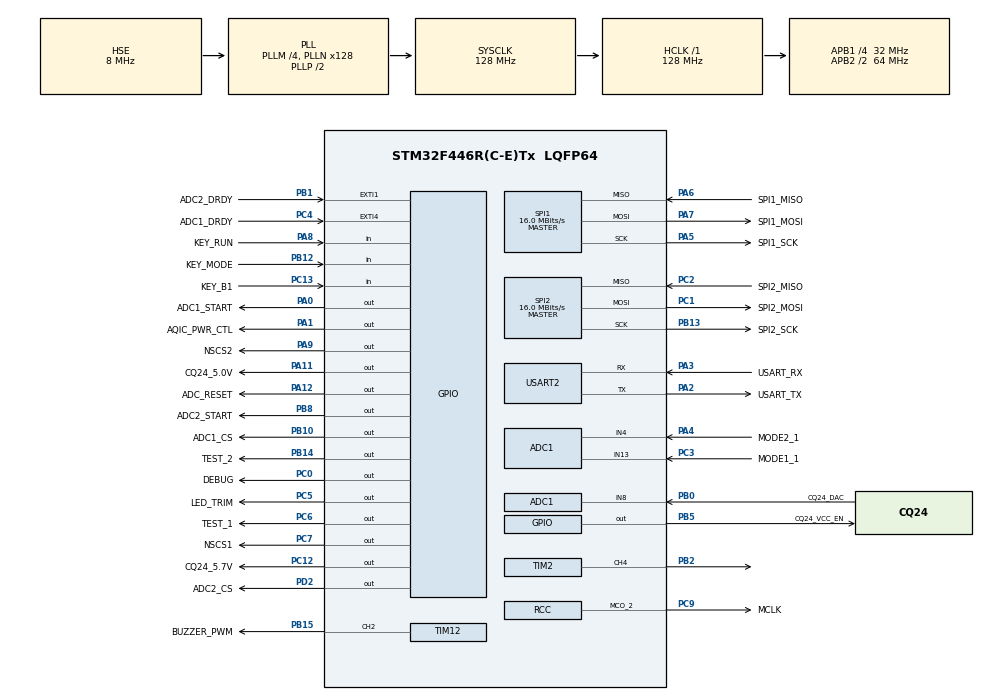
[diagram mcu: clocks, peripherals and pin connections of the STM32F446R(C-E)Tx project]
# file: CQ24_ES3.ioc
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ADC1.Channel-0\#ChannelRegularConversion=ADC_CHANNEL_13
ADC1.Channel-1\#ChannelRegularConversion=ADC_CHANNEL_8
ADC1.Channel-3\#ChannelRegularConversion=ADC_CHANNEL_4
ADC1.NbrOfConversion=3
ADC1.NbrOfConversionFlag=1
ADC1.Rank-0\#ChannelRegularConversion=1
ADC1.Rank-1\#ChannelRegularConversion=2
ADC1.Rank-3\#ChannelRegularConversion=3
ADC1.SamplingTime-0\#ChannelRegularConversion=ADC_SAMPLETIME_3CYCLES
ADC1.SamplingTime-1\#ChannelRegularConversion=ADC_SAMPLETIME_3CYCLES
ADC1.SamplingTime-3\#ChannelRegularConversion=ADC_SAMPLETIME_3CYCLES
ADC1.ScanConvMode=ENABLE
ADC1.master=1
Dma.ADC1.0.Direction=DMA_PERIPH_TO_MEMORY
Dma.ADC1.0.FIFOMode=DMA_FIFOMODE_DISABLE
Dma.ADC1.0.Instance=DMA2_Stream0
Dma.ADC1.0.MemDataAlignment=DMA_MDATAALIGN_HALFWORD
Dma.ADC1.0.MemInc=DMA_MINC_ENABLE
Dma.ADC1.0.Mode=DMA_NORMAL
Dma.ADC1.0.PeriphDataAlignment=DMA_PDATAALIGN_HALFWORD
Dma.ADC1.0.PeriphInc=DMA_PINC_DISABLE
Dma.ADC1.0.Priority=DMA_PRIORITY_LOW
Dma.Request0=ADC1
Dma.Request1=USART2_TX
Dma.Request2=USART2_RX
Dma.USART2_RX.2.Direction=DMA_PERIPH_TO_MEMORY
Dma.USART2_RX.2.FIFOMode=DMA_FIFOMODE_DISABLE
Dma.USART2_RX.2.Instance=DMA1_Stream5
Dma.USART2_RX.2.MemDataAlignment=DMA_MDATAALIGN_BYTE
Dma.USART2_RX.2.MemInc=DMA_MINC_ENABLE
Dma.USART2_RX.2.Mode=DMA_NORMAL
Dma.USART2_RX.2.PeriphDataAlignment=DMA_PDATAALIGN_BYTE
Dma.USART2_RX.2.PeriphInc=DMA_PINC_DISABLE
Dma.USART2_RX.2.Priority=DMA_PRIORITY_LOW
Dma.USART2_TX.1.Direction=DMA_MEMORY_TO_PERIPH
Dma.USART2_TX.1.FIFOMode=DMA_FIFOMODE_DISABLE
Dma.USART2_TX.1.Instance=DMA1_Stream6
Dma.USART2_TX.1.MemDataAlignment=DMA_MDATAALIGN_BYTE
Dma.USART2_TX.1.MemInc=DMA_MINC_ENABLE
Dma.USART2_TX.1.Mode=DMA_NORMAL
Dma.USART2_TX.1.PeriphDataAlignment=DMA_PDATAALIGN_BYTE
Dma.USART2_TX.1.PeriphInc=DMA_PINC_DISABLE
Dma.USART2_TX.1.Priority=DMA_PRIORITY_LOW
FREERTOS.INCLUDE_vTaskDelayUntil=1
FREERTOS.Queues01=queue_key_event,16,uint16_t,0,Dynamic,NULL,NULL
FREERTOS.Tasks01=JigFunctionTask,8,512,JigFunction,Default,NULL,Dynamic,NULL,NULL;KeyHandlerTask,24,128,KeyHandler,Default,NULL,Dynamic,NULL,NULL;UartHandlerTask,24,512,UartHandler,Default,NULL,Dynamic,NULL,NULL
FREERTOS.configENABLE_FPU=1
FREERTOS.configUSE_TIMERS=1
Mcu.Family=STM32F4
Mcu.Name=STM32F446R(C-E)Tx
Mcu.Package=LQFP64
NVIC.DMA1_Stream5_IRQn=true\:5\:0\:false\:false\:true\:true\:false\:true\:true
NVIC.DMA1_Stream6_IRQn=true\:5\:0\:false\:false\:true\:true\:false\:true\:true
NVIC.DMA2_Stream0_IRQn=true\:5\:0\:false\:false\:true\:true\:false\:true\:true
NVIC.EXTI1_IRQn=true\:5\:0\:false\:false\:true\:true\:true\:true\:true
NVIC.EXTI4_IRQn=true\:5\:0\:false\:false\:true\:true\:true\:true\:true
NVIC.PriorityGroup=NVIC_PRIORITYGROUP_4
NVIC.TIM1_UP_TIM10_IRQn=true\:0\:0\:false\:false\:true\:false\:false\:true\:true
NVIC.TIM2_IRQn=true\:5\:0\:false\:false\:true\:true\:true\:true\:true
NVIC.TimeBase=TIM1_UP_TIM10_IRQn
NVIC.TimeBaseIP=TIM1
NVIC.USART2_IRQn=true\:5\:0\:false\:false\:true\:true\:true\:true\:true
PA0-WKUP.GPIO_Label=ADC1_START
PA0-WKUP.Signal=GPIO_Output
PA1.GPIO_Label=AQIC_PWR_CTL
PA1.GPIO_PuPd=GPIO_PULLDOWN
PA1.PinState=GPIO_PIN_RESET
PA1.Signal=GPIO_Output
PA11.GPIO_Label=CQ24_5.0V
PA11.GPIO_PuPd=GPIO_NOPULL
PA11.Signal=GPIO_Output
PA12.GPIO_Label=ADC_RESET
PA12.PinState=GPIO_PIN_SET
PA12.Signal=GPIO_Output
PA13.GPIO_Label=TMS
PA13.Mode=Serial_Wire
PA13.Signal=SYS_JTMS-SWDIO
PA14.GPIO_Label=TCK
PA14.Mode=Serial_Wire
PA14.Signal=SYS_JTCK-SWCLK
PA2.GPIO_Label=USART_TX
PA2.Mode=Asynchronous
PA2.Signal=USART2_TX
PA3.GPIO_Label=USART_RX
PA3.Mode=Asynchronous
PA3.Signal=USART2_RX
PA4.GPIO_Label=MODE2_1
PA4.Signal=ADCx_IN4
PA5.GPIO_Label=SPI1_SCK
PA5.Mode=Full_Duplex_Master
PA5.Signal=SPI1_SCK
PA6.GPIO_Label=SPI1_MISO
PA6.Mode=Full_Duplex_Master
PA6.Signal=SPI1_MISO
PA7.GPIO_Label=SPI1_MOSI
PA7.Mode=Full_Duplex_Master
PA7.Signal=SPI1_MOSI
PA8.GPIO_Label=KEY_RUN
PA8.Signal=GPIO_Input
PA9.GPIO_Label=NSCS2
PA9.PinState=GPIO_PIN_SET
PA9.Signal=GPIO_Output
PB0.GPIO_Label=CQ24_DAC
PB0.Signal=ADCx_IN8
PB1.GPIO_Label=ADC2_DRDY
PB1.GPIO_ModeDefaultEXTI=GPIO_MODE_IT_FALLING
PB1.Signal=GPXTI1
PB10.GPIO_Label=ADC1_CS
PB10.PinState=GPIO_PIN_SET
PB10.Signal=GPIO_Output
PB12.GPIO_Label=KEY_MODE
PB12.Signal=GPIO_Input
PB13.GPIO_Label=SPI2_SCK
PB13.Mode=Full_Duplex_Master
PB13.Signal=SPI2_SCK
PB14.GPIO_Label=TEST_2
PB14.Signal=GPIO_Output
PB15.GPIO_Label=BUZZER_PWM
PB15.Signal=S_TIM12_CH2
PB2.Signal=S_TIM2_CH4
PB3.GPIO_Label=SWO
PB3.Signal=SYS_JTDO-SWO
PB5.GPIO_Label=CQ24_VCC_EN
PB5.GPIO_PuPd=GPIO_NOPULL
PB5.PinState=GPIO_PIN_SET
PB5.Signal=GPIO_Output
PB8.GPIO_Label=ADC2_START
PB8.Signal=GPIO_Output
PC0.GPIO_Label=DEBUG
PC0.Signal=GPIO_Output
PC1.GPIO_Label=SPI2_MOSI
PC1.Mode=Full_Duplex_Master
PC1.Signal=SPI2_MOSI
PC12.GPIO_Label=CQ24_5.7V
PC12.GPIO_PuPd=GPIO_NOPULL
PC12.Signal=GPIO_Output
PC13.GPIO_Label=KEY_B1
PC13.Signal=GPIO_Input
PC14-OSC32_IN.Mode=LSE-External-Oscillator
PC14-OSC32_IN.Signal=RCC_OSC32_IN
PC15-OSC32_OUT.Mode=LSE-External-Oscillator
PC15-OSC32_OUT.Signal=RCC_OSC32_OUT
PC2.GPIO_Label=SPI2_MISO
PC2.Mode=Full_Duplex_Master
PC2.Signal=SPI2_MISO
PC3.GPIO_Label=MODE1_1
PC3.Signal=ADCx_IN13
PC4.GPIO_Label=ADC1_DRDY
PC4.GPIO_ModeDefaultEXTI=GPIO_MODE_IT_FALLING
PC4.Signal=GPXTI4
PC5.GPIO_Label=LED_TRIM
PC5.Signal=GPIO_Output
PC6.GPIO_Label=TEST_1
PC6.Signal=GPIO_Output
PC7.GPIO_Label=NSCS1
PC7.PinState=GPIO_PIN_SET
PC7.Signal=GPIO_Output
PC9.GPIO_Label=MCLK
PC9.Mode=Clock-out-2
PC9.Signal=RCC_MCO_2
PD2.GPIO_Label=ADC2_CS
PD2.PinState=GPIO_PIN_SET
PD2.Signal=GPIO_Output
PH0-OSC_IN.Mode=HSE-External-Oscillator
PH0-OSC_IN.Signal=RCC_OSC_IN
PH1-OSC_OUT.Mode=HSE-External-Oscillator
PH1-OSC_OUT.Signal=RCC_OSC_OUT
ProjectManager.HeapSize=0x200
ProjectManager.StackSize=0x400
ProjectManager.TargetToolchain=EWARM V8.50
RCC.48MHZClocksFreq_Value=84000000
RCC.AHBFreq_Value=128000000
RCC.APB1CLKDivider=RCC_HCLK_DIV4
RCC.APB1Freq_Value=32000000
RCC.APB1TimFreq_Value=64000000
RCC.APB2CLKDivider=RCC_HCLK_DIV2
RCC.APB2Freq_Value=64000000
RCC.APB2TimFreq_Value=128000000
RCC.CortexFreq_Value=128000000
RCC.FLatency-AdvancedSettings=FLASH_LATENCY_4
RCC.HCLKFreq_Value=128000000
RCC.HSE_VALUE=8000000
RCC.HSI_VALUE=16000000
RCC.PLLI2SM=6
RCC.PLLI2SN=194
RCC.PLLI2SR=4
RCC.PLLM=4
RCC.PLLN=128
RCC.PLLR=4
RCC.PLLSourceVirtual=RCC_PLLSOURCE_HSE
RCC.PWREXT_OverDrive=PWREXT_OverDrive_ACTIVATED
RCC.PWR_Regulator_Voltage_Scale=PWR_REGULATOR_VOLTAGE_SCALE1
RCC.RCC_MCO2Source=RCC_MCO2SOURCE_PLLI2SCLK
RCC.RCC_MCODiv2=RCC_MCODIV_4
RCC.SYSCLKFreq_VALUE=128000000
RCC.SYSCLKSource=RCC_SYSCLKSOURCE_PLLCLK
RCC.USBFreq_Value=128000000
RCC.VCOOutputFreq_Value=256000000
SH.ADCx_IN13.0=ADC1_IN13,IN13
SH.ADCx_IN4.0=ADC1_IN4,IN4
SH.ADCx_IN8.0=ADC1_IN8,IN8
SH.S_TIM12_CH2.0=TIM12_CH2,PWM Generation2 CH2
SH.S_TIM2_CH4.0=TIM2_CH4,PWM Generation4 CH4
SPI1.BaudRatePrescaler=SPI_BAUDRATEPRESCALER_4
SPI1.CLKPhase=SPI_PHASE_2EDGE
SPI1.CalculateBaudRate=16.0 MBits/s
SPI1.DataSize=SPI_DATASIZE_8BIT
SPI1.Direction=SPI_DIRECTION_2LINES
SPI1.Mode=SPI_MODE_MASTER
SPI1.VirtualType=VM_MASTER
SPI2.BaudRatePrescaler=SPI_BAUDRATEPRESCALER_2
SPI2.CLKPhase=SPI_PHASE_2EDGE
SPI2.CalculateBaudRate=16.0 MBits/s
SPI2.DataSize=SPI_DATASIZE_16BIT
SPI2.Direction=SPI_DIRECTION_2LINES
SPI2.Mode=SPI_MODE_MASTER
SPI2.VirtualType=VM_MASTER
TIM12.Channel-PWM\ Generation2\ CH2=TIM_CHANNEL_2
TIM12.Period=3866
TIM12.Prescaler=89
TIM12.Pulse-PWM\ Generation2\ CH2=1933
TIM2.Channel-PWM\ Generation4\ CH4=TIM_CHANNEL_4
TIM2.Period=639999
TIM2.Prescaler=0
USART2.VirtualMode=VM_ASYNC
VP_FREERTOS_VS_CMSIS_V2.Mode=CMSIS_V2
VP_SYS_VS_tim1.Mode=TIM1
VP_TIM12_VS_ClockSourceINT.Mode=Internal
VP_TIM2_VS_ClockSourceINT.Mode=Internal
board=NUCLEO-F446RE

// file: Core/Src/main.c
/* USER CODE BEGIN Header */
/**
  ******************************************************************************
  * @file           : main.c
  * @brief          : Main program body
  ******************************************************************************
  * @attention
  *
  * Copyright (c) 2025 STMicroelectronics.
  * All rights reserved.
  *
  * This software is licensed under terms that can be found in the LICENSE file
  * in the root directory of this software component.
  * If no LICENSE file comes with this software, it is provided AS-IS.
  *
  ******************************************************************************
  */
/* USER CODE END Header */
#include "main.h"
#include "cmsis_os.h"

/* USER CODE BEGIN Includes */
#include "ads124S08.h"
/* USER CODE END Includes */

/* USER CODE BEGIN PD */
#define TASK_JIG_FUNCTION_TICK      (10) //ms

#define TASK_KEY_HANDLER_TICK       (10) //ms
#define TASK_UART_HANDLER_TICK      (5) //ms

#define UART_BACKSPACE              (0x08)
#define UART_NEW_LINE               (0x0A)
#define UART_CARRIAGE_RETURN        (0x0D)
#define UART_DELETE                 (0x7F)
#define UART_SPACE                  (0x20)

#define TX_PACKET_SIZE              (200)
#define TX_BUFF_SIZE                (512) // must be power of 2

#define RX_PACKET_SIZE              (20)
#define RX_BUFF_SIZE                (32) // must be power of 2

typedef enum
{
    KEY_FUNCTION_LONG = 0,
    KEY_FUNCTION_SHORT,
    KEY_FUNCTION_MAX,
}KEY_FUNCTION_TYPE;

typedef enum
{
    KEY_RUN = 0,
    KEY_MODE,
    KEY_B1,
    KEY_MAX,
}KEY_INDEX;

static GPIO_TypeDef* key_gpio_port[KEY_MAX] =
{
    KEY_RUN_GPIO_Port,
    KEY_MODE_GPIO_Port,
    KEY_B1_GPIO_Port
};

static uint16_t key_gpio_pin[KEY_MAX] =
{
    KEY_RUN_Pin,
    KEY_MODE_Pin,
    KEY_B1_Pin
};

#define KEY_PRESSED_JUDGE_CNT   (50)
/* USER CODE END PD */

ADC_HandleTypeDef hadc1;
DMA_HandleTypeDef hdma_adc1;

SPI_HandleTypeDef hspi1;
SPI_HandleTypeDef hspi2;

TIM_HandleTypeDef htim2;
TIM_HandleTypeDef htim12;

UART_HandleTypeDef huart2;
DMA_HandleTypeDef hdma_usart2_tx;
DMA_HandleTypeDef hdma_usart2_rx;

/* Definitions for JigFunctionTask */
osThreadId_t JigFunctionTaskHandle;
const osThreadAttr_t JigFunctionTask_attributes = {
  .name = "JigFunctionTask",
  .stack_size = 512 * 4,
  .priority = (osPriority_t) osPriorityLow,
};
/* Definitions for KeyHandlerTask */
osThreadId_t KeyHandlerTaskHandle;
const osThreadAttr_t KeyHandlerTask_attributes = {
  .name = "KeyHandlerTask",
  .stack_size = 128 * 4,
  .priority = (osPriority_t) osPriorityNormal,
};
/* Definitions for UartHandlerTask */
osThreadId_t UartHandlerTaskHandle;
const osThreadAttr_t UartHandlerTask_attributes = {
  .name = "UartHandlerTask",
  .stack_size = 512 * 4,
  .priority = (osPriority_t) osPriorityNormal,
};
/* Definitions for queue_key_event */
osMessageQueueId_t queue_key_eventHandle;
const osMessageQueueAttr_t queue_key_event_attributes = {
  .name = "queue_key_event"
};
/* USER CODE BEGIN PV */
osSemaphoreId_t JigTaskSemaphore;

typedef struct
{
    uint8_t length;
    char buffer[TX_PACKET_SIZE];
}Tx_Packet;

typedef struct
{
    uint8_t TxInCnt;
    uint8_t TxOutCnt;
    Tx_Packet Txbuff[TX_BUFF_SIZE];
}Uart_Tx;
static Uart_Tx gt_uart_tx;
bool gb_uart_tx_start;

typedef struct
{
    uint8_t length;
    char buffer[RX_PACKET_SIZE];
}Rx_Packet;

typedef struct
{
    uint8_t RxInCnt;
    uint8_t RxOutCnt;
    Rx_Packet Rxbuff[RX_BUFF_SIZE];
}Uart_Rx;
static Uart_Rx gt_uart_rx;
uint8_t gn_uart_rx_temp;

const char* CQ24_CONSOLE = "CQ24 >> ";

typedef struct
{
    GPIO_PinState prev_pin_state;
    GPIO_PinState now_pin_state;
    uint8_t key_press_count;
    bool is_long_key_done;
}_key_state_;
static _key_state_ gt_key_state[KEY_MAX];
/* USER CODE END PV */

void SystemClock_Config(void);
void PeriphCommonClock_Config(void);
static void MX_GPIO_Init(void);
static void MX_DMA_Init(void);
static void MX_ADC1_Init(void);
static void MX_USART2_UART_Init(void);
static void MX_SPI1_Init(void);
static void MX_SPI2_Init(void);
static void MX_TIM2_Init(void);
static void MX_TIM12_Init(void);
void JigFunction(void *argument);
void KeyHandler(void *argument);
void UartHandler(void *argument);

/* USER CODE BEGIN PFP */
static void Key_Run_Long_Function(void);
static void Key_Run_Short_Function(void);
static void Key_Mode_Long_Function(void);
static void Key_Mode_Short_Function(void);
static void Key_B1_Long_Function(void);
static void Key_B1_Short_Function(void);
static void Key_Struct_Init(void);

static uint8_t Receive_Command_Is(char* compare_msg);
static void Uart_Display_Command_List(void);
static void Uart_Rx_Decode_String(void);
static void Uart_Debug_Init(void);
/* USER CODE END PFP */

/* USER CODE BEGIN 0 */
void Print(const char* fmt, ...)
{
    int length = 0;
    va_list args;

    va_start(args, fmt);
    length = vsnprintf(gt_uart_tx.Txbuff[gt_uart_tx.TxInCnt].buffer, (TX_PACKET_SIZE - 1), fmt, args);
    va_end(args);

    gt_uart_tx.Txbuff[gt_uart_tx.TxInCnt].length = length;
    ++gt_uart_tx.TxInCnt;
    gt_uart_tx.TxInCnt &= (uint8_t)(TX_BUFF_SIZE - 1);
}

void Uart_Rx_Parser(void)
{
    HAL_UART_Transmit(&huart2, &gn_uart_rx_temp, 1, 10);

    if (gn_uart_rx_temp == UART_NEW_LINE || gn_uart_rx_temp == UART_CARRIAGE_RETURN)
    {
        char enter = UART_NEW_LINE;
        HAL_UART_Transmit(&huart2, (const uint8_t*)&enter, 1, 10);
        ++gt_uart_rx.RxInCnt;
        gt_uart_rx.RxInCnt &= (uint8_t)(RX_BUFF_SIZE - 1);

        gt_uart_rx.Rxbuff[gt_uart_rx.RxInCnt].length = 0;
    }
    else if (gn_uart_rx_temp == UART_BACKSPACE)
    {
        char backspace[2] = { UART_SPACE, UART_BACKSPACE };
        HAL_UART_Transmit(&huart2, (const uint8_t*)backspace, 2, 10);
        if (gt_uart_rx.Rxbuff[gt_uart_rx.RxInCnt].length)
        {
            --gt_uart_rx.Rxbuff[gt_uart_rx.RxInCnt].length;
            gt_uart_rx.Rxbuff[gt_uart_rx.RxInCnt].buffer[gt_uart_rx.Rxbuff[gt_uart_rx.RxInCnt].length] = 0;
        }
    }
    else if (gn_uart_rx_temp == UART_DELETE)
    {
        char delete[3] = { UART_BACKSPACE, UART_SPACE, UART_BACKSPACE };
        HAL_UART_Transmit(&huart2, (const uint8_t*)delete, 3, 10);
        while (gt_uart_rx.Rxbuff[gt_uart_rx.RxInCnt].length)
        {
            HAL_UART_Transmit(&huart2, (const uint8_t*)delete, 3, 10);
            --gt_uart_rx.Rxbuff[gt_uart_rx.RxInCnt].length;
            gt_uart_rx.Rxbuff[gt_uart_rx.RxInCnt].buffer[gt_uart_rx.Rxbuff[gt_uart_rx.RxInCnt].length] = 0;
        }
    }
    else
    {
        if (gt_uart_rx.Rxbuff[gt_uart_rx.RxInCnt].length < RX_PACKET_SIZE)
        {
            gt_uart_rx.Rxbuff[gt_uart_rx.RxInCnt].buffer[gt_uart_rx.Rxbuff[gt_uart_rx.RxInCnt].length] = gn_uart_rx_temp;
            ++gt_uart_rx.Rxbuff[gt_uart_rx.RxInCnt].length;
        }
        else
        {
            Print("\tRx Buffer Size Limit...\r\n");
        }
    }

    HAL_UART_Receive_DMA(&huart2, &gn_uart_rx_temp, 1);
}

static uint8_t Receive_Command_Is(char* compare_msg)
{
    uint8_t ret = 0x40;

    ret = strcmp(compare_msg, gt_uart_rx.Rxbuff[gt_uart_rx.RxOutCnt].buffer);

    //Print("msg : %s, comp : %s, ret : %u\r\n", gt_uart_rx.Rxbuff[gt_uart_rx.RxOutCnt].buffer, compare_msg, ret);

    return ret;
}

static void Uart_Display_Command_List(void)
{
    Print("\t [ cq_w1 (h'addr) (h'data) ]\r\n");
    Print("\t [ cq_r1 (h'addr)          ]\r\n");
    Print("\t [ cq_w2 (h'addr) (h'data) ]\r\n");
    Print("\t [ cq_r2 (h'addr)          ]\r\n");
}

static void Uart_Rx_Decode_String(void)
{
    uint32_t u32_param[6] = {0, };
    char* str = gt_uart_rx.Rxbuff[gt_uart_rx.RxOutCnt].buffer;

    if (!Receive_Command_Is("reset"))
    {
        NVIC_SystemReset();
    }
    else if ((!Receive_Command_Is("help")) || (!Receive_Command_Is("?")))
    {
        Uart_Display_Command_List();
    }
    else if (!Receive_Command_Is("vsync_start"))
    {
        Print("Vsync start!! \r\n");
        CQ24_Set_Vsync(true);
    }
    else if (!Receive_Command_Is("vsync_stop"))
    {
        Print("Vsync stop!! \r\n");
        CQ24_Set_Vsync(false);
    }
    else if (!Receive_Command_Is("mclk_start"))
    {
        Print("MCLK start!! \r\n");
        CQ24_Set_MCLK(true);
    }
    else if (!Receive_Command_Is("mclk_stop"))
    {
        Print("MCLK stop!! \r\n");
        CQ24_Set_MCLK(false);
    }
    else if (sscanf(str, "cq_w1 %x %x", &u32_param[0], &u32_param[1]))
    {
        CQ24_Set_CMD1_Target_Reg(CQ24_WR, u32_param[0], u32_param[1]);
    }
    else if (sscanf(str, "cq_r1 %x", &u32_param[0]))
    {
        CQ24_Set_CMD1_Target_Reg(CQ24_RD, u32_param[0], 0);
    }
    else if (sscanf(str, "cq_w2 %x %x", &u32_param[0], &u32_param[1]))
    {
        CQ24_Set_CMD2_Target_Reg(CQ24_WR, u32_param[0], u32_param[1]);
    }
    else if (sscanf(str, "cq_r2 %x", &u32_param[0]))
    {
        CQ24_Set_CMD2_Target_Reg(CQ24_RD, u32_param[0], 0);
    }
    else if (sscanf(str, "duty %u", &u32_param[0]))
    {
        CQ24_Set_CMD3_Duty((uint16_t)u32_param[0]);
    }
    else if (sscanf(str, "ld_i %u", &u32_param[0]))
    {
        CQ24_Set_CMD4_LD_I((uint16_t)u32_param[0]);
    }
    else if (!Receive_Command_Is("test"))
    {
        uint8_t a = 0;
        uint8_t b = 0;
        uint16_t cq_id_table[5] = {455, 910, 1820, 2730, 4095};
        int32_t adc_value[24] = {0, };
        float f_adc_voltage[5][24] = {0.0f, };

        Print("Vsync stop!! \r\n");
        CQ24_Set_Vsync(false);

        CQ24_Write_CMD2_Reg_main(CQ24_CMD2_DUTY_FIX, SVSYNC_SIZE);
        CQ24_Write_CMD2_Reg_main(CQ24_CMD2_FRAME_HEADER_FIX, 0xFFF);
        CQ24_Write_CMD2_Reg_main(CQ24_CMD2_LD_I_FIX, 2048);
        CQ24_Write_CMD1_Reg_main(CQ24_CMD1_FIX_CONTROL, 0x170);
        HAL_Delay(10);

        for (uint8_t j = 0 ; j < 5 ; ++j)
        {
            CQ24_Write_CMD2_Reg_main(CQ24_CMD2_LD_I_FIX, (uint16_t)cq_id_table[j]);
            HAL_Delay(10);
            for (uint8_t i = 0 ; i < 24 ; ++i)
            {
                if (i < 12)
                {
                    ads114s08_select_single_ended_input(i, ADC1_CS);
                    HAL_Delay(1);
                    ads114s08_set_start(1, ADC1_CS);
                    HAL_Delay(1);
                    ads114s08_set_start(0, ADC1_CS);
                    HAL_Delay(1);
                    adc_value[i] = ads114s08_get_rdata(&a, &b, ADC1_CS);
                }
                else
                {
                    ads114s08_select_single_ended_input(i - 12, ADC2_CS);
                    HAL_Delay(1);
                    ads114s08_set_start(1, ADC2_CS);
                    HAL_Delay(1);
                    ads114s08_set_start(0, ADC2_CS);
                    HAL_Delay(1);
                    adc_value[i] = ads114s08_get_rdata(&a, &b, ADC2_CS);
                }
                f_adc_voltage[j][i] = ADC_VOLT_PER_STEP * adc_value[i] / 1000.0f;
                //Print("ADC[%2d] : (%6d - %.3f)\r\n", i, adc_value[i], f_adc_voltage[j][i]);
            }
        }

        Print("Input, ch1, ch2, ch3, ch4, ch5, ch6, ch7, ch8, ch9, ch10, ch11, ch12, ch13, ch14, ch15, ch16, ch17, ch18, ch19, ch20, ch21, ch22, ch23, ch24\r\n");
        for (uint8_t j = 0 ; j < 5 ; ++j)
        {
            Print("%d", cq_id_table[j]);
            for (uint8_t i = 0 ; i < 24 ; ++i)
            {
                Print(",%.3f", f_adc_voltage[j][i]);
            }
            Print("\r\n");
        }
    }
    else
    {
        Print("\tUnknown CMD!! \r\n");
    }

    Print("%s", CQ24_CONSOLE);
}

static void Uart_Debug_Init(void)
{
    Print("--------------------------------------\r\n");
    Print("    [GT-CQ24(xxx) TEST/TRIM JIG]\r\n");
    Print("--------------------------------------\r\n");
    Print("-Project\t: STM32 CQ24 JIG\r\n");
    Print("-Author\t\t: xxx@glbltech.com\r\n");
    Print("-Build\t\t: %s\r\n", __DATE__);
    Print("--------------------------------------\r\n");
    Print("%s", CQ24_CONSOLE);

    HAL_UART_Receive_DMA(&huart2, &gn_uart_rx_temp, 1);
}

static void (*Key_Function_Pointer[KEY_MAX][KEY_FUNCTION_MAX])(void) =
{
    { Key_Run_Long_Function,    Key_Run_Short_Function },
    { Key_Mode_Long_Function,   Key_Mode_Short_Function },
    { Key_B1_Long_Function,     Key_B1_Short_Function },
};

static void Key_Run_Long_Function(void)
{
    Print("\r\n key run long \r\n");
}
static void Key_Run_Short_Function(void)
{
    CQ24_Init();
    Print("\r\n key run short \r\n");
}

static void Key_Mode_Long_Function(void)
{
    Print("\r\n key mode long \r\n");
}
static void Key_Mode_Short_Function(void)
{
    Print("\r\n key mode short \r\n");
}

static void Key_B1_Long_Function(void)
{
    Print("\r\n key b1 long \r\n");
}
static void Key_B1_Short_Function(void)
{
    Print("\r\n key b1 short \r\n");
}
static void Key_Struct_Init(void)
{
    for (KEY_INDEX key_idx = KEY_RUN ; key_idx < KEY_MAX ; ++key_idx)
    {
        gt_key_state[key_idx].now_pin_state = GPIO_PIN_SET;
        gt_key_state[key_idx].prev_pin_state = GPIO_PIN_SET;
        gt_key_state[key_idx].key_press_count = 0;
        gt_key_state[key_idx].is_long_key_done = false;
    }
}

void CQ24_Set_MCLK(bool en)
{
    GPIO_InitTypeDef GPIO_InitStruct = {0};

    if (en == true)
    {
        GPIO_InitStruct.Pin = MCLK_Pin;
        GPIO_InitStruct.Mode = GPIO_MODE_AF_PP;
        GPIO_InitStruct.Pull = GPIO_NOPULL;
        GPIO_InitStruct.Speed = GPIO_SPEED_FREQ_MEDIUM;
        GPIO_InitStruct.Alternate = GPIO_AF0_MCO;
        HAL_GPIO_Init(MCLK_GPIO_Port, &GPIO_InitStruct);
    }
    else
    {
        /*Configure GPIO pin : MCLK_Pin */
        GPIO_InitStruct.Pin = MCLK_Pin;
        GPIO_InitStruct.Mode = GPIO_MODE_INPUT;
        GPIO_InitStruct.Pull = GPIO_NOPULL;
        GPIO_InitStruct.Speed = GPIO_SPEED_FREQ_LOW;
        HAL_GPIO_Init(MCLK_GPIO_Port, &GPIO_InitStruct);
    }
}

void CQ24_Set_Vsync(bool en)
{
    if (en == true)
    {
        uint32_t period = __HAL_TIM_GET_AUTORELOAD(&htim2);
        __HAL_TIM_SET_COMPARE(&htim2, TIM_CHANNEL_4, (uint32_t)(period * 0.01));
        HAL_TIM_PWM_Start_IT(&htim2, TIM_CHANNEL_4);
    }
    else
    {
        HAL_TIM_PWM_Stop_IT(&htim2, TIM_CHANNEL_4);
    }
}
/* USER CODE END 0 */

int main(void)
{

  /* MCU Configuration--------------------------------------------------------*/

  /* Reset of all peripherals, Initializes the Flash interface and the Systick. */
  HAL_Init();

  /* Configure the system clock */
  SystemClock_Config();

  /* Configure the peripherals common clocks */
  PeriphCommonClock_Config();

  /* Initialize all configured peripherals */
  MX_GPIO_Init();
  MX_DMA_Init();
  MX_ADC1_Init();
  MX_USART2_UART_Init();
  MX_SPI1_Init();
  MX_SPI2_Init();
  MX_TIM2_Init();
  MX_TIM12_Init();
  /* USER CODE BEGIN 2 */
    Key_Struct_Init();
    Uart_Debug_Init();
    ads114s08_init();

    CQ24_NSCS_LO();
    CQ24_Set_MCLK(false);
    CQ24_Set_Vsync(false);
  /* USER CODE END 2 */

  /* Init scheduler */
  osKernelInitialize();

  /* USER CODE BEGIN RTOS_SEMAPHORES */
  /* add semaphores, ... */
    JigTaskSemaphore = osSemaphoreNew(1, 0, NULL);
  /* USER CODE END RTOS_SEMAPHORES */

  /* Create the queue(s) */
  /* creation of queue_key_event */
  queue_key_eventHandle = osMessageQueueNew (16, sizeof(uint16_t), &queue_key_event_attributes);

  /* Create the thread(s) */
  /* creation of JigFunctionTask */
  JigFunctionTaskHandle = osThreadNew(JigFunction, NULL, &JigFunctionTask_attributes);

  /* creation of KeyHandlerTask */
  KeyHandlerTaskHandle = osThreadNew(KeyHandler, NULL, &KeyHandlerTask_attributes);

  /* creation of UartHandlerTask */
  UartHandlerTaskHandle = osThreadNew(UartHandler, NULL, &UartHandlerTask_attributes);

  /* Start scheduler */
  osKernelStart();

  /* We should never get here as control is now taken by the scheduler */

  /* Infinite loop */
  while (1)
  {

  }
}

void SystemClock_Config(void)
{
  RCC_OscInitTypeDef RCC_OscInitStruct = {0};
  RCC_ClkInitTypeDef RCC_ClkInitStruct = {0};

  /** Configure the main internal regulator output voltage
  */
  __HAL_RCC_PWR_CLK_ENABLE();
  __HAL_PWR_VOLTAGESCALING_CONFIG(PWR_REGULATOR_VOLTAGE_SCALE1);

  /** Initializes the RCC Oscillators according to the specified parameters
  * in the RCC_OscInitTypeDef structure.
  */
  RCC_OscInitStruct.OscillatorType = RCC_OSCILLATORTYPE_HSE;
  RCC_OscInitStruct.HSEState = RCC_HSE_ON;
  RCC_OscInitStruct.HSIState = RCC_HSI_ON;
  RCC_OscInitStruct.HSICalibrationValue = RCC_HSICALIBRATION_DEFAULT;
  RCC_OscInitStruct.PLL.PLLState = RCC_PLL_ON;
  RCC_OscInitStruct.PLL.PLLSource = RCC_PLLSOURCE_HSE;
  RCC_OscInitStruct.PLL.PLLM = 4;
  RCC_OscInitStruct.PLL.PLLN = 128;
  RCC_OscInitStruct.PLL.PLLP = RCC_PLLP_DIV2;
  RCC_OscInitStruct.PLL.PLLQ = 2;
  RCC_OscInitStruct.PLL.PLLR = 4;
  if (HAL_RCC_OscConfig(&RCC_OscInitStruct) != HAL_OK)
  {
    Error_Handler();
  }

  /** Activate the Over-Drive mode
  */
  if (HAL_PWREx_EnableOverDrive() != HAL_OK)
  {
    Error_Handler();
  }

  /** Initializes the CPU, AHB and APB buses clocks
  */
  RCC_ClkInitStruct.ClockType = RCC_CLOCKTYPE_HCLK|RCC_CLOCKTYPE_SYSCLK
                              |RCC_CLOCKTYPE_PCLK1|RCC_CLOCKTYPE_PCLK2;
  RCC_ClkInitStruct.SYSCLKSource = RCC_SYSCLKSOURCE_PLLCLK;
  RCC_ClkInitStruct.AHBCLKDivider = RCC_SYSCLK_DIV1;
  RCC_ClkInitStruct.APB1CLKDivider = RCC_HCLK_DIV4;
  RCC_ClkInitStruct.APB2CLKDivider = RCC_HCLK_DIV2;

  if (HAL_RCC_ClockConfig(&RCC_ClkInitStruct, FLASH_LATENCY_4) != HAL_OK)
  {
    Error_Handler();
  }
  HAL_RCC_MCOConfig(RCC_MCO2, RCC_MCO2SOURCE_PLLI2SCLK, RCC_MCODIV_4);
}

void PeriphCommonClock_Config(void)
{
  RCC_PeriphCLKInitTypeDef PeriphClkInitStruct = {0};

  /** Initializes the peripherals clock
  */
  PeriphClkInitStruct.PeriphClockSelection = RCC_PERIPHCLK_PLLI2S;
  PeriphClkInitStruct.PLLI2S.PLLI2SN = 194;
  PeriphClkInitStruct.PLLI2S.PLLI2SP = RCC_PLLI2SP_DIV2;
  PeriphClkInitStruct.PLLI2S.PLLI2SM = 6;
  PeriphClkInitStruct.PLLI2S.PLLI2SR = 4;
  PeriphClkInitStruct.PLLI2S.PLLI2SQ = 2;
  PeriphClkInitStruct.PLLI2SDivQ = 1;
  if (HAL_RCCEx_PeriphCLKConfig(&PeriphClkInitStruct) != HAL_OK)
  {
    Error_Handler();
  }
}

static void MX_ADC1_Init(void)
{

  ADC_ChannelConfTypeDef sConfig = {0};

  /** Configure the global features of the ADC (Clock, Resolution, Data Alignment and number of conversion)
  */
  hadc1.Instance = ADC1;
  hadc1.Init.ClockPrescaler = ADC_CLOCK_SYNC_PCLK_DIV2;
  hadc1.Init.Resolution = ADC_RESOLUTION_12B;
  hadc1.Init.ScanConvMode = ENABLE;
  hadc1.Init.ContinuousConvMode = DISABLE;
  hadc1.Init.DiscontinuousConvMode = DISABLE;
  hadc1.Init.ExternalTrigConvEdge = ADC_EXTERNALTRIGCONVEDGE_NONE;
  hadc1.Init.ExternalTrigConv = ADC_SOFTWARE_START;
  hadc1.Init.DataAlign = ADC_DATAALIGN_RIGHT;
  hadc1.Init.NbrOfConversion = 3;
  hadc1.Init.DMAContinuousRequests = DISABLE;
  hadc1.Init.EOCSelection = ADC_EOC_SINGLE_CONV;
  if (HAL_ADC_Init(&hadc1) != HAL_OK)
  {
    Error_Handler();
  }

  /** Configure for the selected ADC regular channel its corresponding rank in the sequencer and its sample time.
  */
  sConfig.Channel = ADC_CHANNEL_13;
  sConfig.Rank = 1;
  sConfig.SamplingTime = ADC_SAMPLETIME_3CYCLES;
  if (HAL_ADC_ConfigChannel(&hadc1, &sConfig) != HAL_OK)
  {
    Error_Handler();
  }

  /** Configure for the selected ADC regular channel its corresponding rank in the sequencer and its sample time.
  */
  sConfig.Channel = ADC_CHANNEL_8;
  sConfig.Rank = 2;
  if (HAL_ADC_ConfigChannel(&hadc1, &sConfig) != HAL_OK)
  {
    Error_Handler();
  }

  /** Configure for the selected ADC regular channel its corresponding rank in the sequencer and its sample time.
  */
  sConfig.Channel = ADC_CHANNEL_4;
  sConfig.Rank = 3;
  if (HAL_ADC_ConfigChannel(&hadc1, &sConfig) != HAL_OK)
  {
    Error_Handler();
  }

}

static void MX_SPI1_Init(void)
{

  /* SPI1 parameter configuration*/
  hspi1.Instance = SPI1;
  hspi1.Init.Mode = SPI_MODE_MASTER;
  hspi1.Init.Direction = SPI_DIRECTION_2LINES;
  hspi1.Init.DataSize = SPI_DATASIZE_8BIT;
  hspi1.Init.CLKPolarity = SPI_POLARITY_LOW;
  hspi1.Init.CLKPhase = SPI_PHASE_2EDGE;
  hspi1.Init.NSS = SPI_NSS_SOFT;
  hspi1.Init.BaudRatePrescaler = SPI_BAUDRATEPRESCALER_4;
  hspi1.Init.FirstBit = SPI_FIRSTBIT_MSB;
  hspi1.Init.TIMode = SPI_TIMODE_DISABLE;
  hspi1.Init.CRCCalculation = SPI_CRCCALCULATION_DISABLE;
  hspi1.Init.CRCPolynomial = 10;
  if (HAL_SPI_Init(&hspi1) != HAL_OK)
  {
    Error_Handler();
  }

}

static void MX_SPI2_Init(void)
{

  /* SPI2 parameter configuration*/
  hspi2.Instance = SPI2;
  hspi2.Init.Mode = SPI_MODE_MASTER;
  hspi2.Init.Direction = SPI_DIRECTION_2LINES;
  hspi2.Init.DataSize = SPI_DATASIZE_16BIT;
  hspi2.Init.CLKPolarity = SPI_POLARITY_LOW;
  hspi2.Init.CLKPhase = SPI_PHASE_2EDGE;
  hspi2.Init.NSS = SPI_NSS_SOFT;
  hspi2.Init.BaudRatePrescaler = SPI_BAUDRATEPRESCALER_2;
  hspi2.Init.FirstBit = SPI_FIRSTBIT_MSB;
  hspi2.Init.TIMode = SPI_TIMODE_DISABLE;
  hspi2.Init.CRCCalculation = SPI_CRCCALCULATION_DISABLE;
  hspi2.Init.CRCPolynomial = 10;
  if (HAL_SPI_Init(&hspi2) != HAL_OK)
  {
    Error_Handler();
  }

}

static void MX_TIM2_Init(void)
{

  TIM_ClockConfigTypeDef sClockSourceConfig = {0};
  TIM_MasterConfigTypeDef sMasterConfig = {0};
  TIM_OC_InitTypeDef sConfigOC = {0};

  htim2.Instance = TIM2;
  htim2.Init.Prescaler = 0;
  htim2.Init.CounterMode = TIM_COUNTERMODE_UP;
  htim2.Init.Period = 639999;
  htim2.Init.ClockDivision = TIM_CLOCKDIVISION_DIV1;
  htim2.Init.AutoReloadPreload = TIM_AUTORELOAD_PRELOAD_DISABLE;
  if (HAL_TIM_Base_Init(&htim2) != HAL_OK)
  {
    Error_Handler();
  }
  sClockSourceConfig.ClockSource = TIM_CLOCKSOURCE_INTERNAL;
  if (HAL_TIM_ConfigClockSource(&htim2, &sClockSourceConfig) != HAL_OK)
  {
    Error_Handler();
  }
  if (HAL_TIM_PWM_Init(&htim2) != HAL_OK)
  {
    Error_Handler();
  }
  sMasterConfig.MasterOutputTrigger = TIM_TRGO_RESET;
  sMasterConfig.MasterSlaveMode = TIM_MASTERSLAVEMODE_DISABLE;
  if (HAL_TIMEx_MasterConfigSynchronization(&htim2, &sMasterConfig) != HAL_OK)
  {
    Error_Handler();
  }
  sConfigOC.OCMode = TIM_OCMODE_PWM1;
  sConfigOC.Pulse = 0;
  sConfigOC.OCPolarity = TIM_OCPOLARITY_HIGH;
  sConfigOC.OCFastMode = TIM_OCFAST_DISABLE;
  if (HAL_TIM_PWM_ConfigChannel(&htim2, &sConfigOC, TIM_CHANNEL_4) != HAL_OK)
  {
    Error_Handler();
  }
  HAL_TIM_MspPostInit(&htim2);

}

static void MX_TIM12_Init(void)
{

  TIM_ClockConfigTypeDef sClockSourceConfig = {0};
  TIM_OC_InitTypeDef sConfigOC = {0};

  htim12.Instance = TIM12;
  htim12.Init.Prescaler = 89;
  htim12.Init.CounterMode = TIM_COUNTERMODE_UP;
  htim12.Init.Period = 3866;
  htim12.Init.ClockDivision = TIM_CLOCKDIVISION_DIV1;
  htim12.Init.AutoReloadPreload = TIM_AUTORELOAD_PRELOAD_DISABLE;
  if (HAL_TIM_Base_Init(&htim12) != HAL_OK)
  {
    Error_Handler();
  }
  sClockSourceConfig.ClockSource = TIM_CLOCKSOURCE_INTERNAL;
  if (HAL_TIM_ConfigClockSource(&htim12, &sClockSourceConfig) != HAL_OK)
  {
    Error_Handler();
  }
  if (HAL_TIM_PWM_Init(&htim12) != HAL_OK)
  {
    Error_Handler();
  }
  sConfigOC.OCMode = TIM_OCMODE_PWM1;
  sConfigOC.Pulse = 1933;
  sConfigOC.OCPolarity = TIM_OCPOLARITY_HIGH;
  sConfigOC.OCFastMode = TIM_OCFAST_DISABLE;
  if (HAL_TIM_PWM_ConfigChannel(&htim12, &sConfigOC, TIM_CHANNEL_2) != HAL_OK)
  {
    Error_Handler();
  }
  HAL_TIM_MspPostInit(&htim12);

}

static void MX_USART2_UART_Init(void)
{

  huart2.Instance = USART2;
  huart2.Init.BaudRate = 115200;
  huart2.Init.WordLength = UART_WORDLENGTH_8B;
  huart2.Init.StopBits = UART_STOPBITS_1;
  huart2.Init.Parity = UART_PARITY_NONE;
  huart2.Init.Mode = UART_MODE_TX_RX;
  huart2.Init.HwFlowCtl = UART_HWCONTROL_NONE;
  huart2.Init.OverSampling = UART_OVERSAMPLING_16;
  if (HAL_UART_Init(&huart2) != HAL_OK)
  {
    Error_Handler();
  }

}

static void MX_DMA_Init(void)
{

  /* DMA controller clock enable */
  __HAL_RCC_DMA2_CLK_ENABLE();
  __HAL_RCC_DMA1_CLK_ENABLE();

  /* DMA interrupt init */
  /* DMA1_Stream5_IRQn interrupt configuration */
  HAL_NVIC_SetPriority(DMA1_Stream5_IRQn, 5, 0);
  HAL_NVIC_EnableIRQ(DMA1_Stream5_IRQn);
  /* DMA1_Stream6_IRQn interrupt configuration */
  HAL_NVIC_SetPriority(DMA1_Stream6_IRQn, 5, 0);
  HAL_NVIC_EnableIRQ(DMA1_Stream6_IRQn);
  /* DMA2_Stream0_IRQn interrupt configuration */
  HAL_NVIC_SetPriority(DMA2_Stream0_IRQn, 5, 0);
  HAL_NVIC_EnableIRQ(DMA2_Stream0_IRQn);

}

static void MX_GPIO_Init(void)
{
  GPIO_InitTypeDef GPIO_InitStruct = {0};

  /* GPIO Ports Clock Enable */
  __HAL_RCC_GPIOC_CLK_ENABLE();
  __HAL_RCC_GPIOH_CLK_ENABLE();
  __HAL_RCC_GPIOA_CLK_ENABLE();
  __HAL_RCC_GPIOB_CLK_ENABLE();
  __HAL_RCC_GPIOD_CLK_ENABLE();

  /*Configure GPIO pin Output Level */
  HAL_GPIO_WritePin(GPIOC, DEBUG_Pin|LED_TRIM_Pin|TEST_1_Pin|CQ24_5_7V_Pin, GPIO_PIN_RESET);

  /*Configure GPIO pin Output Level */
  HAL_GPIO_WritePin(GPIOA, ADC1_START_Pin|AQIC_PWR_CTL_Pin|CQ24_5_0V_Pin, GPIO_PIN_RESET);

  /*Configure GPIO pin Output Level */
  HAL_GPIO_WritePin(GPIOB, ADC1_CS_Pin|CQ24_VCC_EN_Pin, GPIO_PIN_SET);

  /*Configure GPIO pin Output Level */
  HAL_GPIO_WritePin(GPIOB, TEST_2_Pin|ADC2_START_Pin, GPIO_PIN_RESET);

  /*Configure GPIO pin Output Level */
  HAL_GPIO_WritePin(NSCS1_GPIO_Port, NSCS1_Pin, GPIO_PIN_SET);

  /*Configure GPIO pin Output Level */
  HAL_GPIO_WritePin(GPIOA, NSCS2_Pin|ADC_RESET_Pin, GPIO_PIN_SET);

  /*Configure GPIO pin Output Level */
  HAL_GPIO_WritePin(ADC2_CS_GPIO_Port, ADC2_CS_Pin, GPIO_PIN_SET);

  /*Configure GPIO pin : KEY_B1_Pin */
  GPIO_InitStruct.Pin = KEY_B1_Pin;
  GPIO_InitStruct.Mode = GPIO_MODE_INPUT;
  GPIO_InitStruct.Pull = GPIO_NOPULL;
  HAL_GPIO_Init(KEY_B1_GPIO_Port, &GPIO_InitStruct);

  /*Configure GPIO pins : DEBUG_Pin LED_TRIM_Pin TEST_1_Pin NSCS1_Pin
                           CQ24_5_7V_Pin */
  GPIO_InitStruct.Pin = DEBUG_Pin|LED_TRIM_Pin|TEST_1_Pin|NSCS1_Pin
                          |CQ24_5_7V_Pin;
  GPIO_InitStruct.Mode = GPIO_MODE_OUTPUT_PP;
  GPIO_InitStruct.Pull = GPIO_NOPULL;
  GPIO_InitStruct.Speed = GPIO_SPEED_FREQ_LOW;
  HAL_GPIO_Init(GPIOC, &GPIO_InitStruct);

  /*Configure GPIO pins : ADC1_START_Pin NSCS2_Pin CQ24_5_0V_Pin ADC_RESET_Pin */
  GPIO_InitStruct.Pin = ADC1_START_Pin|NSCS2_Pin|CQ24_5_0V_Pin|ADC_RESET_Pin;
  GPIO_InitStruct.Mode = GPIO_MODE_OUTPUT_PP;
  GPIO_InitStruct.Pull = GPIO_NOPULL;
  GPIO_InitStruct.Speed = GPIO_SPEED_FREQ_LOW;
  HAL_GPIO_Init(GPIOA, &GPIO_InitStruct);

  /*Configure GPIO pin : AQIC_PWR_CTL_Pin */
  GPIO_InitStruct.Pin = AQIC_PWR_CTL_Pin;
  GPIO_InitStruct.Mode = GPIO_MODE_OUTPUT_PP;
  GPIO_InitStruct.Pull = GPIO_PULLDOWN;
  GPIO_InitStruct.Speed = GPIO_SPEED_FREQ_LOW;
  HAL_GPIO_Init(AQIC_PWR_CTL_GPIO_Port, &GPIO_InitStruct);

  /*Configure GPIO pin : ADC1_DRDY_Pin */
  GPIO_InitStruct.Pin = ADC1_DRDY_Pin;
  GPIO_InitStruct.Mode = GPIO_MODE_IT_FALLING;
  GPIO_InitStruct.Pull = GPIO_NOPULL;
  HAL_GPIO_Init(ADC1_DRDY_GPIO_Port, &GPIO_InitStruct);

  /*Configure GPIO pin : ADC2_DRDY_Pin */
  GPIO_InitStruct.Pin = ADC2_DRDY_Pin;
  GPIO_InitStruct.Mode = GPIO_MODE_IT_FALLING;
  GPIO_InitStruct.Pull = GPIO_NOPULL;
  HAL_GPIO_Init(ADC2_DRDY_GPIO_Port, &GPIO_InitStruct);

  /*Configure GPIO pins : ADC1_CS_Pin TEST_2_Pin CQ24_VCC_EN_Pin ADC2_START_Pin */
  GPIO_InitStruct.Pin = ADC1_CS_Pin|TEST_2_Pin|CQ24_VCC_EN_Pin|ADC2_START_Pin;
  GPIO_InitStruct.Mode = GPIO_MODE_OUTPUT_PP;
  GPIO_InitStruct.Pull = GPIO_NOPULL;
  GPIO_InitStruct.Speed = GPIO_SPEED_FREQ_LOW;
  HAL_GPIO_Init(GPIOB, &GPIO_InitStruct);

  /*Configure GPIO pin : KEY_MODE_Pin */
  GPIO_InitStruct.Pin = KEY_MODE_Pin;
  GPIO_InitStruct.Mode = GPIO_MODE_INPUT;
  GPIO_InitStruct.Pull = GPIO_NOPULL;
  HAL_GPIO_Init(KEY_MODE_GPIO_Port, &GPIO_InitStruct);

  /*Configure GPIO pin : MCLK_Pin */
  GPIO_InitStruct.Pin = MCLK_Pin;
  GPIO_InitStruct.Mode = GPIO_MODE_AF_PP;
  GPIO_InitStruct.Pull = GPIO_NOPULL;
  GPIO_InitStruct.Speed = GPIO_SPEED_FREQ_LOW;
  GPIO_InitStruct.Alternate = GPIO_AF0_MCO;
  HAL_GPIO_Init(MCLK_GPIO_Port, &GPIO_InitStruct);

  /*Configure GPIO pin : KEY_RUN_Pin */
  GPIO_InitStruct.Pin = KEY_RUN_Pin;
  GPIO_InitStruct.Mode = GPIO_MODE_INPUT;
  GPIO_InitStruct.Pull = GPIO_NOPULL;
  HAL_GPIO_Init(KEY_RUN_GPIO_Port, &GPIO_InitStruct);

  /*Configure GPIO pin : ADC2_CS_Pin */
  GPIO_InitStruct.Pin = ADC2_CS_Pin;
  GPIO_InitStruct.Mode = GPIO_MODE_OUTPUT_PP;
  GPIO_InitStruct.Pull = GPIO_NOPULL;
  GPIO_InitStruct.Speed = GPIO_SPEED_FREQ_LOW;
  HAL_GPIO_Init(ADC2_CS_GPIO_Port, &GPIO_InitStruct);

  /* EXTI interrupt init*/
  HAL_NVIC_SetPriority(EXTI1_IRQn, 5, 0);
  HAL_NVIC_EnableIRQ(EXTI1_IRQn);

  HAL_NVIC_SetPriority(EXTI4_IRQn, 5, 0);
  HAL_NVIC_EnableIRQ(EXTI4_IRQn);

}

void JigFunction(void *argument)
{
  /* USER CODE BEGIN 5 */
  /* Infinite loop */
  for(;;)
  {
    if (osSemaphoreAcquire(JigTaskSemaphore, osWaitForever) == osOK)
    {
        CQ24_Vsync_Task();
    }
    //osDelay(TASK_JIG_FUNCTION_TICK);
  }
  /* USER CODE END 5 */
}

void KeyHandler(void *argument)
{
  /* USER CODE BEGIN KeyHandler */
  /* Infinite loop */
  for(;;)
  {
    for (KEY_INDEX key_idx = KEY_RUN ; key_idx < KEY_MAX ; ++key_idx)
    {
        gt_key_state[key_idx].now_pin_state = HAL_GPIO_ReadPin(key_gpio_port[key_idx], key_gpio_pin[key_idx]);

        if (gt_key_state[key_idx].now_pin_state != gt_key_state[key_idx].prev_pin_state)
        {
            if (gt_key_state[key_idx].now_pin_state == GPIO_PIN_SET)
            {
                if (gt_key_state[key_idx].key_press_count < KEY_PRESSED_JUDGE_CNT)
                {
                    if (gt_key_state[key_idx].is_long_key_done == false)
                    {
                        Key_Function_Pointer[key_idx][KEY_FUNCTION_SHORT]();
                    }
                }
                gt_key_state[key_idx].key_press_count = 0;
                gt_key_state[key_idx].is_long_key_done = false;
            }
            else
            {

            }
            gt_key_state[key_idx].prev_pin_state = gt_key_state[key_idx].now_pin_state;
        }
        else
        {
            if (gt_key_state[key_idx].now_pin_state == GPIO_PIN_RESET)
            {
                ++gt_key_state[key_idx].key_press_count;
                if ((gt_key_state[key_idx].key_press_count > KEY_PRESSED_JUDGE_CNT) && !(gt_key_state[key_idx].key_press_count % KEY_PRESSED_JUDGE_CNT))
                {
                    Key_Function_Pointer[key_idx][KEY_FUNCTION_LONG]();
                    gt_key_state[key_idx].is_long_key_done = true;
                }
            }
        }
    }
    osDelay(TASK_KEY_HANDLER_TICK);
  }
  /* USER CODE END KeyHandler */
}

void UartHandler(void *argument)
{
  /* USER CODE BEGIN UartHandler */
  /* Infinite loop */
  for(;;)
  {
    if ((!gb_uart_tx_start) && (gt_uart_tx.TxInCnt != gt_uart_tx.TxOutCnt))
    {
        HAL_UART_Transmit_DMA(&huart2, (const uint8_t*)gt_uart_tx.Txbuff[gt_uart_tx.TxOutCnt].buffer, gt_uart_tx.Txbuff[gt_uart_tx.TxOutCnt].length);
        ++gt_uart_tx.TxOutCnt;
        gt_uart_tx.TxOutCnt &= (uint8_t)(TX_BUFF_SIZE - 1);
        gb_uart_tx_start = true;
    }

    if (gt_uart_rx.RxInCnt != gt_uart_rx.RxOutCnt)
    {
        Uart_Rx_Decode_String();
        ++gt_uart_rx.RxOutCnt;
        gt_uart_rx.RxOutCnt &= (uint8_t)(RX_BUFF_SIZE - 1);
    }

    osDelay(TASK_UART_HANDLER_TICK);
  }
  /* USER CODE END UartHandler */
}

void HAL_TIM_PeriodElapsedCallback(TIM_HandleTypeDef *htim)
{
  if (htim->Instance == TIM1)
  {
    HAL_IncTick();
  }
}

void Error_Handler(void)
{
  __disable_irq();
  while (1)
  {
  }
}
